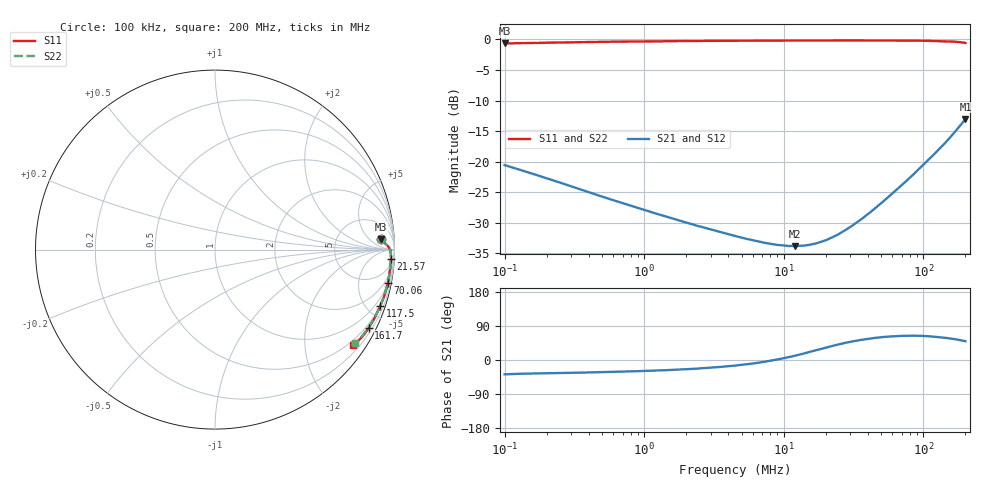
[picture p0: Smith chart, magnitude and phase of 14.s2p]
#  HZ  S  RI  R  50.00
! Rohde & Schwarz Vector Network Analyzer
! Rohde-Schwarz,ZNLE6-2Port,1323001256200024,1.71.1.10-23.02.1.238
! Created: UTC 4/11/2025, 6:15:13 AM
! freq[Hz]  re:S11  im:S11  re:S21  im:S21  re:S12  im:S12  re:S22  im:S22
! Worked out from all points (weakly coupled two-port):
!   1001 points, 100 kHz to 200 MHz, reference 50 ohm
!   highest |S21| = -12.99 dB at 200 MHz (marker M1); lowest = -33.8 dB at 12.01 MHz (marker M2)
!   lowest |S11| = -0.6 dB at 100 kHz (marker M3), VSWR 26.96, Z = 799 + j662 ohm
!   |S11| at or under -10 dB: nowhere
!   |S22| runs from -0.6 to -0.2 dB; largest |S21 - S12| = 0.0037
!   S11 on the Smith chart (normalised r, x): 100 kHz: 16, +13; 21.57 MHz: 11, -33; 70.06 MHz: 1, -10; 117.5 MHz: 0.52, -5.98; 161.7 MHz: 0.36, -4.14; 200 MHz: 0.36, -3.16
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100000  0.9267 0.0571  0.0742 -0.0576  0.0743 -0.0576  0.9265 0.057
199707.2  0.9405 0.0415  0.0602 -0.042  0.0603 -0.0421  0.9403 0.0415
355854.1  0.9514 0.0315  0.0492 -0.0323  0.0493 -0.0324  0.9511 0.0316
1266322  0.9672 0.0146  0.033 -0.0173  0.033 -0.0173  0.9672 0.0147
2397897  0.9725 0.00704  0.0276 -0.0116  0.0276 -0.0116  0.9723 0.00712
4472136  0.9762 -0.00241  0.0239 -0.00627  0.0239 -0.00643  0.9764 -0.00149
8152604  0.9787 -0.0147  0.0212 -0.000564  0.0212 -0.000794  0.9788 -0.014
1.01631e7  0.9794 -0.0209  0.0205 0.00193  0.0205 0.00169  0.9795 -0.0201
1.201293e7  0.9799 -0.0266  0.02 0.00407  0.0202 0.00368  0.9799 -0.0255
1.591428e7  0.9802 -0.0376  0.0195 0.00823  0.0195 0.00808  0.9803 -0.0367
2.156891e7  0.98 -0.0537  0.0192 0.0139  0.0194 0.0136  0.9802 -0.0524
2.729984e7  0.9792 -0.0696  0.0194 0.0193  0.0195 0.0192  0.9794 -0.0681
3.37745e7  0.9778 -0.0877  0.0201 0.0252  0.0202 0.0252  0.9781 -0.0857
4.27485e7  0.975 -0.1134  0.0214 0.0333  0.0224 0.0329  0.9757 -0.1096
5.663162e7  0.9695 -0.1511  0.0246 0.0458  0.0253 0.0453  0.9702 -0.1466
7.006286e7  0.9622 -0.1874  0.0286 0.0577  0.0296 0.0571  0.9631 -0.1822
9.141636e7  0.947 -0.2449  0.0375 0.0769  0.039 0.0761  0.9481 -0.2388
1.174784e8  0.9202 -0.3145  0.0537 0.0996  0.0554 0.0986  0.9231 -0.3078
1.399206e8  0.8913 -0.3763  0.0714 0.1188  0.073 0.1175  0.8953 -0.3672
1.616595e8  0.8564 -0.4363  0.0929 0.1381  0.0952 0.1364  0.862 -0.4246
1.770979e8  0.8266 -0.4778  0.1116 0.151  0.1142 0.1489  0.8328 -0.465
2e8  0.7694 -0.5338  0.1455 0.1706  0.1482 0.1681  0.7799 -0.5222
